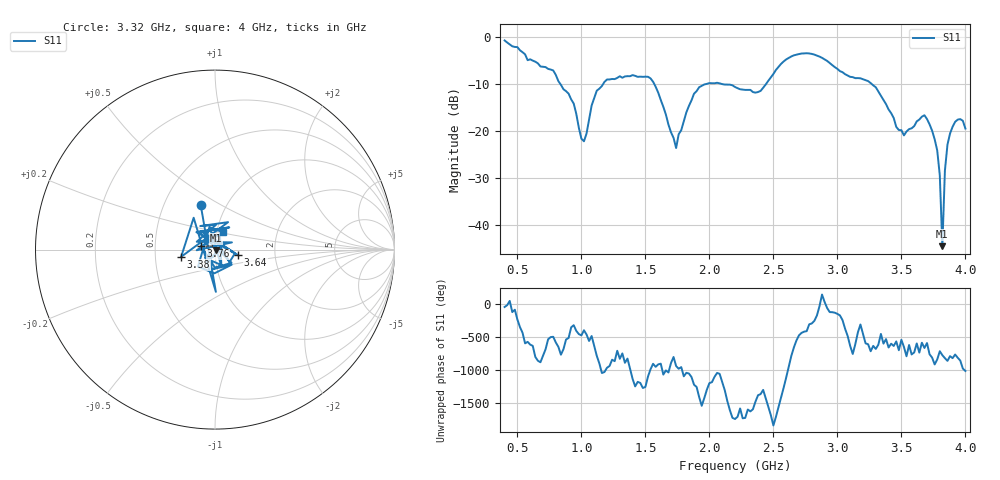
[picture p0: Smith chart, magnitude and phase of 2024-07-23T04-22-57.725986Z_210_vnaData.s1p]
!Created with skrf (http://scikit-rf.org).
# Hz S RI R 50.0
!freq ReS11 ImS11
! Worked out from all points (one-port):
!   181 points, 400 MHz to 4 GHz, reference 50 ohm
!   lowest |S11| = -44.4 dB at 3.82 GHz (marker M1), VSWR 1.01, Z = 50.4 - j0.482 ohm
!   |S11| at or under -10 dB: 1.569 GHz to 1.977 GHz (408.6 MHz wide, 23 % of centre); 2.096 GHz to 2.443 GHz (347.1 MHz wide, 15.3 % of centre); 3.268 GHz to end of sweep (the widest 3 of 4)
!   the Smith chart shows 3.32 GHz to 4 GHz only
!   S11 on the Smith chart (normalised r, x): 3.32 GHz: 0.76, +0.41; 3.38 GHz: 0.68, -0.06; 3.64 GHz: 1.29, -0.08; 3.76 GHz: 0.85, +0.03; 4 GHz: 1.07, +0.21
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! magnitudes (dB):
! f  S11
! 400 MHz  -0.8
! 780 MHz  -7.1
! 860 MHz  -11.1
! 940 MHz  -14.2
! 1.02 GHz  -22.2
! 1.12 GHz  -11.4
! 1.3 GHz  -8.4
! 1.54 GHz  -8.8
! 1.74 GHz  -23.6
! 1.76 GHz  -20.7
! 1.92 GHz  -10.7
! 2.2 GHz  -10.6
! 2.4 GHz  -11.5
! 2.66 GHz  -3.9
! 3.1 GHz  -8.5
! 3.32 GHz  -11.6
! 3.38 GHz  -14.3
! 3.48 GHz  -19.8
! 3.56 GHz  -19.6
! 3.64 GHz  -17.6
! 3.68 GHz  -16.6
! 3.76 GHz  -21.8
! 3.8 GHz  -29.4
! 3.82 GHz  -44.4
! 3.84 GHz  -28.4
! 3.86 GHz  -22.9
! 3.92 GHz  -18.0
! 4 GHz  -19.5
